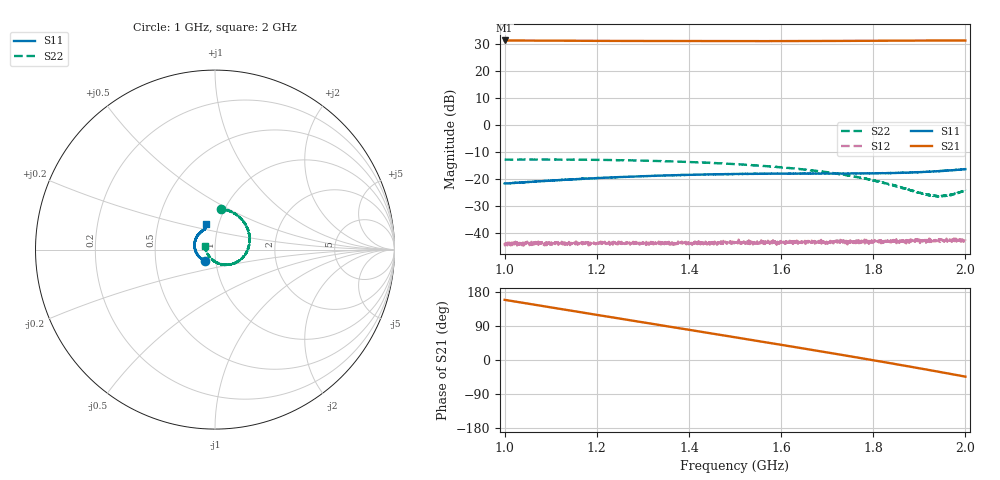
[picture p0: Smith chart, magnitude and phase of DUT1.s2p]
!Keysight Technologies,N5245A,US52130011,A.10.65.16
!Date: Wednesday, July 16, 2025 17:03:21
!Correction: S11(Full 2 Port(1,2))
!S21(Full 2 Port(1,2))
!S12(Full 2 Port(1,2))
!S22(Full 2 Port(1,2))
!S2P File: Measurements: S11, S21, S12, S22:
# Hz S  RI  R 50
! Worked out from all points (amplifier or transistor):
!   2001 points, 1 GHz to 2 GHz, reference 50 ohm
!   highest |S21| = 31.5 dB at 1 GHz (marker M1)
!   |S21| within 3 dB of that: start of sweep to end of sweep
!   unconditionally stable (mu >= 1): start of sweep to end of sweep
!   at 1.167 GHz: K = 2.08, MAG = 31.7 dB, |S12| = -43.8 dB
!   at 1.5 GHz: K = 2.19, MAG = 31.5 dB, |S12| = -44.1 dB
!   at 2 GHz: K = 1.89, MAG = 31.6 dB, |S12| = -42.5 dB
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1e9  -0.0551 -0.0613  -34.97 13.56  -0.00457 -0.00448  0.0333 0.2259
1.0375e9  -0.0649 -0.0569  -32.8 17.92  -0.00474 -0.00415  0.0541 0.2231
1.081e9  -0.0762 -0.0498  -29.64 22.57  -0.00556 -0.00333  0.0769 0.2159
1.167e9  -0.0957 -0.0313  -21.57 30.05  -0.00608 -0.00285  0.1207 0.1935
1.212e9  -0.1038 -0.0198  -16.61 32.88  -0.00621 -0.00143  0.1399 0.1764
1.251e9  -0.1079 -0.0086  -12.02 34.73  -0.00619 -0.00116  0.1566 0.159
1.291e9  -0.112 0.00365  -7.113 35.98  -0.00635 -0.000471  0.1698 0.1394
1.3335e9  -0.1136 0.017  -1.8 36.53  -0.0066 0.000329  0.1807 0.1164
1.3735e9  -0.1139 0.0293  3.222 36.38  -0.00613 0.000368  0.1887 0.0933
1.413e9  -0.1119 0.0423  8.106 35.55  -0.00672 0.00136  0.1928 0.0699
1.459e9  -0.1087 0.055  13.6 33.8  -0.00596 0.00233  0.1929 0.0417
1.5e9  -0.1042 0.0666  18.24 31.55  -0.0056 0.00273  0.188 0.0169
1.579e9  -0.0918 0.0847  26.14 25.46  -0.00531 0.00409  0.1679 -0.027
1.667e9  -0.0773 0.0995  32.75 16.42  -0.00475 0.00522  0.128 -0.0656
1.708e9  -0.071 0.1041  34.86 11.55  -0.00381 0.00553  0.104 -0.0777
1.7495e9  -0.0651 0.1082  36.28 6.272  -0.00354 0.00627  0.079 -0.0828
1.7905e9  -0.0599 0.1115  36.96 0.8743  -0.00273 0.0056  0.0506 -0.0822
1.8335e9  -0.0566 0.1155  36.79 -4.955  -0.00198 0.00659  0.0216 -0.0772
1.873e9  -0.0544 0.1193  35.77 -10.31  -0.00139 0.00669  -0.00363 -0.0647
1.9145e9  -0.0543 0.1254  33.85 -15.79  -0.000247 0.00654  -0.028 -0.0438
1.9525e9  -0.052 0.1306  31.23 -20.56  -6.97e-05 0.00698  -0.0453 -0.0183
2e9  -0.0512 0.1429  26.94 -25.94  0.00135 0.00734  -0.0569 0.0223
